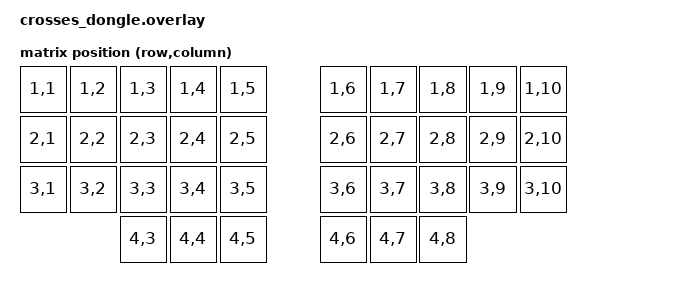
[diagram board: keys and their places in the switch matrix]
/*
 * Crosses 36 — XIAO BLE dongle (central)
 *
 * No physical keys. Receives key + trackball events from the two halves
 * over BLE. Declares the 36-key physical layout locally so that ZMK Studio
 * can render and edit this keymap over the dongle's USB.
 *
 * Layout / position-map sources copied from gggw-zmk-keebs at the
 * `zephyr-4.1` revision (boards/shields/crosses/{thirty_six_layout,
 * position_map}.dtsi). The geometry is fixed by the physical PCB, so
 * drift risk is minimal.
 */

#include <dt-bindings/zmk/matrix_transform.h>
#include <dt-bindings/zmk/input_transform.h>
#include <input/processors.dtsi>
#include <input/processors/report_rate_limit.dtsi>

#include "position_map.dtsi"
#include "thirty_six_layout.dtsi"

/* Keep DONGLE_LAYER_MOUSE in sync with the `mouse_layer` index in
 * config/crosses.keymap (currently 3 — 0=base, 1=lower, 2=raise, 3=mouse). */
#define DONGLE_LAYER_MOUSE 3

&gggw_crosses_36_layout {
    transform = <&thirty_six_transform>;
};

/ {
    chosen {
        zmk,kscan = &mock_kscan;
        zmk,physical-layout = &gggw_crosses_36_layout;
        zmk,matrix-transform = &thirty_six_transform;
    };

    /* Matrix transform mirroring upstream crosses.dtsi's thirty_six_transform
     * so split-peripheral key events on the central map to the same keymap
     * positions the peripherals scan into. */
    thirty_six_transform: keymap_transform_dongle {
        compatible = "zmk,matrix-transform";
        columns = <12>;
        rows = <5>;
        map = <
            RC(1,1) RC(1,2) RC(1,3) RC(1,4) RC(1,5)   RC(1,6) RC(1,7) RC(1,8) RC(1,9) RC(1,10)
            RC(2,1) RC(2,2) RC(2,3) RC(2,4) RC(2,5)   RC(2,6) RC(2,7) RC(2,8) RC(2,9) RC(2,10)
            RC(3,1) RC(3,2) RC(3,3) RC(3,4) RC(3,5)   RC(3,6) RC(3,7) RC(3,8) RC(3,9) RC(3,10)
                            RC(4,3) RC(4,4) RC(4,5)   RC(4,6) RC(4,7) RC(4,8)
        >;
    };

    /* Keyless central still requires a kscan chosen by ZMK. */
    mock_kscan: kscan_mock {
        compatible = "zmk,kscan-mock";
        columns = <0>;
        rows = <0>;
        events = <0>;
    };

    /* Split inputs received from the two peripherals (left=0, right=1). */
    split_inputs {
        #address-cells = <1>;
        #size-cells = <0>;

        left_ball_split: left_ball_split@0 {
            compatible = "zmk,input-split";
            reg = <0>;
        };

        right_ball_split: right_ball_split@1 {
            compatible = "zmk,input-split";
            reg = <1>;
        };
    };

    /* Right-ball auto-mouse-layer processor (Voyager-style). */
    right_temp_layer: right_temp_layer {
        compatible = "zmk,input-processor-temp-layer";
        #input-processor-cells = <2>;
        require-prior-idle-ms = <0>;
    };

    left_ball_listener: left_ball_listener {
        compatible = "zmk,input-listener";
        device = <&left_ball_split>;
        /* Left ball is always-on scroll; mapping happens on the peripheral
         * (zip_xy_to_scroll_mapper) and the events arrive here as wheel events. */
    };

    right_ball_listener: right_ball_listener {
        compatible = "zmk,input-listener";
        device = <&right_ball_split>;
        input-processors = <&right_temp_layer DONGLE_LAYER_MOUSE 750>;
    };
};
